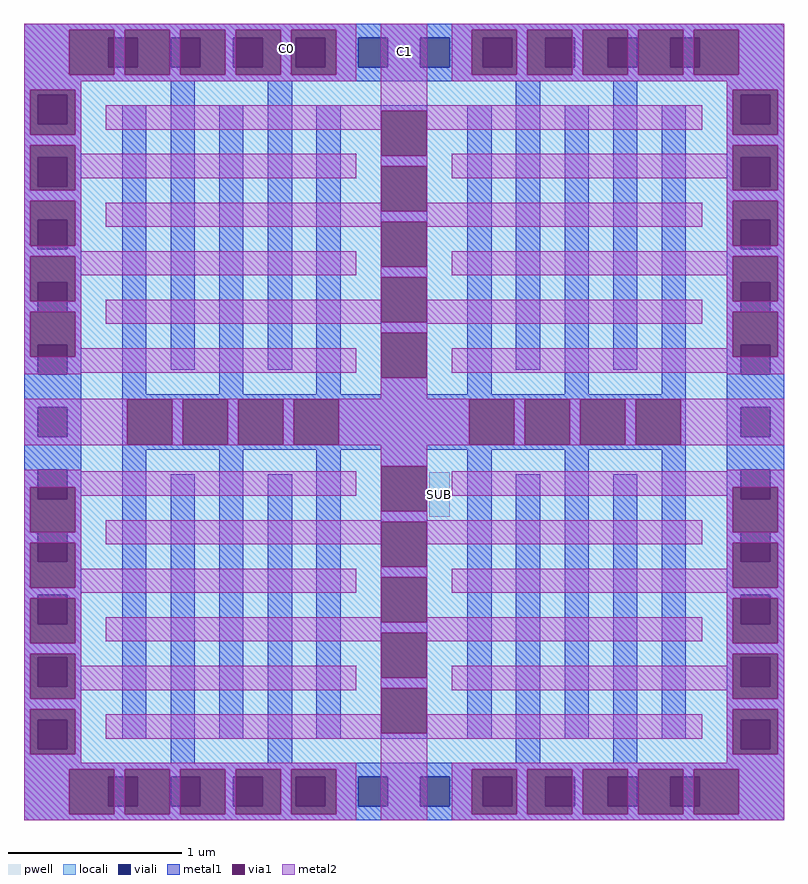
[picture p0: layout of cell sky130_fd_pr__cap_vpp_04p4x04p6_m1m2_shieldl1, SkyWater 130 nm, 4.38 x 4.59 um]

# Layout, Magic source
magic
tech sky130A
magscale 1 2
<< pwell >>
rect 467 350 491 401
<< locali >>
rect 0 902 876 918
rect 0 868 97 902
rect 131 868 169 902
rect 203 868 241 902
rect 275 868 313 902
rect 347 868 385 902
rect 419 868 457 902
rect 491 868 529 902
rect 563 868 601 902
rect 635 868 673 902
rect 707 868 745 902
rect 779 868 876 902
rect 0 836 876 868
rect 0 802 16 836
rect 50 802 826 836
rect 860 802 876 836
rect 0 764 876 802
rect 0 730 16 764
rect 50 730 826 764
rect 860 730 876 764
rect 0 692 876 730
rect 0 658 16 692
rect 50 658 826 692
rect 860 658 876 692
rect 0 620 876 658
rect 0 586 16 620
rect 50 586 826 620
rect 860 586 876 620
rect 0 548 876 586
rect 0 514 16 548
rect 50 514 826 548
rect 860 514 876 548
rect 0 476 876 514
rect 0 442 16 476
rect 50 442 826 476
rect 860 442 876 476
rect 0 404 876 442
rect 0 370 16 404
rect 50 370 826 404
rect 860 370 876 404
rect 0 332 876 370
rect 0 298 16 332
rect 50 298 826 332
rect 860 298 876 332
rect 0 260 876 298
rect 0 226 16 260
rect 50 226 826 260
rect 860 226 876 260
rect 0 188 876 226
rect 0 154 16 188
rect 50 154 826 188
rect 860 154 876 188
rect 0 116 876 154
rect 0 82 16 116
rect 50 82 826 116
rect 860 82 876 116
rect 0 50 876 82
rect 0 16 97 50
rect 131 16 169 50
rect 203 16 241 50
rect 275 16 313 50
rect 347 16 385 50
rect 419 16 457 50
rect 491 16 529 50
rect 563 16 601 50
rect 635 16 673 50
rect 707 16 745 50
rect 779 16 876 50
rect 0 0 876 16
<< viali >>
rect 97 868 131 902
rect 169 868 203 902
rect 241 868 275 902
rect 313 868 347 902
rect 385 868 419 902
rect 457 868 491 902
rect 529 868 563 902
rect 601 868 635 902
rect 673 868 707 902
rect 745 868 779 902
rect 16 802 50 836
rect 826 802 860 836
rect 16 730 50 764
rect 826 730 860 764
rect 16 658 50 692
rect 826 658 860 692
rect 16 586 50 620
rect 826 586 860 620
rect 16 514 50 548
rect 826 514 860 548
rect 16 442 50 476
rect 826 442 860 476
rect 16 370 50 404
rect 826 370 860 404
rect 16 298 50 332
rect 826 298 860 332
rect 16 226 50 260
rect 826 226 860 260
rect 16 154 50 188
rect 826 154 860 188
rect 16 82 50 116
rect 826 82 860 116
rect 97 16 131 50
rect 169 16 203 50
rect 241 16 275 50
rect 313 16 347 50
rect 385 16 419 50
rect 457 16 491 50
rect 529 16 563 50
rect 601 16 635 50
rect 673 16 707 50
rect 745 16 779 50
<< metal1 >>
rect 0 911 876 918
rect 0 859 52 911
rect 104 902 116 911
rect 168 902 180 911
rect 232 902 244 911
rect 168 868 169 902
rect 232 868 241 902
rect 104 859 116 868
rect 168 859 180 868
rect 232 859 244 868
rect 296 859 308 911
rect 360 902 516 911
rect 360 868 385 902
rect 419 868 457 902
rect 491 868 516 902
rect 360 859 516 868
rect 568 859 580 911
rect 632 902 644 911
rect 696 902 708 911
rect 760 902 772 911
rect 635 868 644 902
rect 707 868 708 902
rect 632 859 644 868
rect 696 859 708 868
rect 760 859 772 868
rect 824 859 876 911
rect 0 852 876 859
rect 0 842 66 852
rect 0 790 7 842
rect 59 790 66 842
rect 0 778 66 790
rect 0 726 7 778
rect 59 726 66 778
rect 0 714 66 726
rect 0 662 7 714
rect 59 662 66 714
rect 0 658 16 662
rect 50 658 66 662
rect 0 650 66 658
rect 0 598 7 650
rect 59 598 66 650
rect 0 586 16 598
rect 50 586 66 598
rect 0 534 7 586
rect 59 534 66 586
rect 0 514 16 534
rect 50 514 66 534
rect 0 476 66 514
rect 0 442 16 476
rect 50 442 66 476
rect 0 404 66 442
rect 0 384 16 404
rect 50 384 66 404
rect 0 332 7 384
rect 59 332 66 384
rect 0 320 16 332
rect 50 320 66 332
rect 0 268 7 320
rect 59 268 66 320
rect 0 260 66 268
rect 0 256 16 260
rect 50 256 66 260
rect 0 204 7 256
rect 59 204 66 256
rect 0 192 66 204
rect 0 140 7 192
rect 59 140 66 192
rect 0 128 66 140
rect 0 76 7 128
rect 59 76 66 128
rect 113 491 141 824
rect 169 519 197 852
rect 225 491 253 824
rect 281 519 309 852
rect 337 491 365 824
rect 411 818 465 824
rect 411 766 412 818
rect 464 766 465 818
rect 411 754 465 766
rect 411 702 412 754
rect 464 702 465 754
rect 411 690 465 702
rect 411 638 412 690
rect 464 638 465 690
rect 411 626 465 638
rect 411 574 412 626
rect 464 574 465 626
rect 411 562 465 574
rect 411 510 412 562
rect 464 510 465 562
rect 411 491 465 510
rect 511 491 539 824
rect 567 519 595 852
rect 623 491 651 824
rect 679 519 707 852
rect 810 842 876 852
rect 735 491 763 824
rect 113 485 763 491
rect 113 433 119 485
rect 171 433 183 485
rect 235 433 247 485
rect 299 433 311 485
rect 363 433 513 485
rect 565 433 577 485
rect 629 433 641 485
rect 693 433 705 485
rect 757 433 763 485
rect 113 427 763 433
rect 113 94 141 427
rect 0 66 66 76
rect 169 66 197 399
rect 225 94 253 427
rect 281 66 309 399
rect 337 94 365 427
rect 411 408 465 427
rect 411 356 412 408
rect 464 356 465 408
rect 411 344 465 356
rect 411 292 412 344
rect 464 292 465 344
rect 411 280 465 292
rect 411 228 412 280
rect 464 228 465 280
rect 411 216 465 228
rect 411 164 412 216
rect 464 164 465 216
rect 411 152 465 164
rect 411 100 412 152
rect 464 100 465 152
rect 411 94 465 100
rect 511 94 539 427
rect 567 66 595 399
rect 623 94 651 427
rect 679 66 707 399
rect 735 94 763 427
rect 810 790 817 842
rect 869 790 876 842
rect 810 778 876 790
rect 810 726 817 778
rect 869 726 876 778
rect 810 714 876 726
rect 810 662 817 714
rect 869 662 876 714
rect 810 658 826 662
rect 860 658 876 662
rect 810 650 876 658
rect 810 598 817 650
rect 869 598 876 650
rect 810 586 826 598
rect 860 586 876 598
rect 810 534 817 586
rect 869 534 876 586
rect 810 514 826 534
rect 860 514 876 534
rect 810 476 876 514
rect 810 442 826 476
rect 860 442 876 476
rect 810 404 876 442
rect 810 384 826 404
rect 860 384 876 404
rect 810 332 817 384
rect 869 332 876 384
rect 810 320 826 332
rect 860 320 876 332
rect 810 268 817 320
rect 869 268 876 320
rect 810 260 876 268
rect 810 256 826 260
rect 860 256 876 260
rect 810 204 817 256
rect 869 204 876 256
rect 810 192 876 204
rect 810 140 817 192
rect 869 140 876 192
rect 810 128 876 140
rect 810 76 817 128
rect 869 76 876 128
rect 810 66 876 76
rect 0 59 876 66
rect 0 7 52 59
rect 104 50 116 59
rect 168 50 180 59
rect 232 50 244 59
rect 168 16 169 50
rect 232 16 241 50
rect 104 7 116 16
rect 168 7 180 16
rect 232 7 244 16
rect 296 7 308 59
rect 360 50 516 59
rect 360 16 385 50
rect 419 16 457 50
rect 491 16 516 50
rect 360 7 516 16
rect 568 7 580 59
rect 632 50 644 59
rect 696 50 708 59
rect 760 50 772 59
rect 635 16 644 50
rect 707 16 708 50
rect 632 7 644 16
rect 696 7 708 16
rect 760 7 772 16
rect 824 7 876 59
rect 0 0 876 7
<< via1 >>
rect 52 902 104 911
rect 116 902 168 911
rect 180 902 232 911
rect 244 902 296 911
rect 52 868 97 902
rect 97 868 104 902
rect 116 868 131 902
rect 131 868 168 902
rect 180 868 203 902
rect 203 868 232 902
rect 244 868 275 902
rect 275 868 296 902
rect 52 859 104 868
rect 116 859 168 868
rect 180 859 232 868
rect 244 859 296 868
rect 308 902 360 911
rect 516 902 568 911
rect 308 868 313 902
rect 313 868 347 902
rect 347 868 360 902
rect 516 868 529 902
rect 529 868 563 902
rect 563 868 568 902
rect 308 859 360 868
rect 516 859 568 868
rect 580 902 632 911
rect 644 902 696 911
rect 708 902 760 911
rect 772 902 824 911
rect 580 868 601 902
rect 601 868 632 902
rect 644 868 673 902
rect 673 868 696 902
rect 708 868 745 902
rect 745 868 760 902
rect 772 868 779 902
rect 779 868 824 902
rect 580 859 632 868
rect 644 859 696 868
rect 708 859 760 868
rect 772 859 824 868
rect 7 836 59 842
rect 7 802 16 836
rect 16 802 50 836
rect 50 802 59 836
rect 7 790 59 802
rect 7 764 59 778
rect 7 730 16 764
rect 16 730 50 764
rect 50 730 59 764
rect 7 726 59 730
rect 7 692 59 714
rect 7 662 16 692
rect 16 662 50 692
rect 50 662 59 692
rect 7 620 59 650
rect 7 598 16 620
rect 16 598 50 620
rect 50 598 59 620
rect 7 548 59 586
rect 7 534 16 548
rect 16 534 50 548
rect 50 534 59 548
rect 7 370 16 384
rect 16 370 50 384
rect 50 370 59 384
rect 7 332 59 370
rect 7 298 16 320
rect 16 298 50 320
rect 50 298 59 320
rect 7 268 59 298
rect 7 226 16 256
rect 16 226 50 256
rect 50 226 59 256
rect 7 204 59 226
rect 7 188 59 192
rect 7 154 16 188
rect 16 154 50 188
rect 50 154 59 188
rect 7 140 59 154
rect 7 116 59 128
rect 7 82 16 116
rect 16 82 50 116
rect 50 82 59 116
rect 7 76 59 82
rect 412 766 464 818
rect 412 702 464 754
rect 412 638 464 690
rect 412 574 464 626
rect 412 510 464 562
rect 119 433 171 485
rect 183 433 235 485
rect 247 433 299 485
rect 311 433 363 485
rect 513 433 565 485
rect 577 433 629 485
rect 641 433 693 485
rect 705 433 757 485
rect 412 356 464 408
rect 412 292 464 344
rect 412 228 464 280
rect 412 164 464 216
rect 412 100 464 152
rect 817 836 869 842
rect 817 802 826 836
rect 826 802 860 836
rect 860 802 869 836
rect 817 790 869 802
rect 817 764 869 778
rect 817 730 826 764
rect 826 730 860 764
rect 860 730 869 764
rect 817 726 869 730
rect 817 692 869 714
rect 817 662 826 692
rect 826 662 860 692
rect 860 662 869 692
rect 817 620 869 650
rect 817 598 826 620
rect 826 598 860 620
rect 860 598 869 620
rect 817 548 869 586
rect 817 534 826 548
rect 826 534 860 548
rect 860 534 869 548
rect 817 370 826 384
rect 826 370 860 384
rect 860 370 869 384
rect 817 332 869 370
rect 817 298 826 320
rect 826 298 860 320
rect 860 298 869 320
rect 817 268 869 298
rect 817 226 826 256
rect 826 226 860 256
rect 860 226 869 256
rect 817 204 869 226
rect 817 188 869 192
rect 817 154 826 188
rect 826 154 860 188
rect 860 154 869 188
rect 817 140 869 154
rect 817 116 869 128
rect 817 82 826 116
rect 826 82 860 116
rect 860 82 869 116
rect 817 76 869 82
rect 52 50 104 59
rect 116 50 168 59
rect 180 50 232 59
rect 244 50 296 59
rect 52 16 97 50
rect 97 16 104 50
rect 116 16 131 50
rect 131 16 168 50
rect 180 16 203 50
rect 203 16 232 50
rect 244 16 275 50
rect 275 16 296 50
rect 52 7 104 16
rect 116 7 168 16
rect 180 7 232 16
rect 244 7 296 16
rect 308 50 360 59
rect 516 50 568 59
rect 308 16 313 50
rect 313 16 347 50
rect 347 16 360 50
rect 516 16 529 50
rect 529 16 563 50
rect 563 16 568 50
rect 308 7 360 16
rect 516 7 568 16
rect 580 50 632 59
rect 644 50 696 59
rect 708 50 760 59
rect 772 50 824 59
rect 580 16 601 50
rect 601 16 632 50
rect 644 16 673 50
rect 673 16 696 50
rect 708 16 745 50
rect 745 16 760 50
rect 772 16 779 50
rect 779 16 824 50
rect 580 7 632 16
rect 644 7 696 16
rect 708 7 760 16
rect 772 7 824 16
<< metal2 >>
rect 0 911 383 918
rect 0 859 52 911
rect 104 859 116 911
rect 168 859 180 911
rect 232 859 244 911
rect 296 859 308 911
rect 360 859 383 911
rect 0 852 383 859
rect 0 842 66 852
rect 0 790 7 842
rect 59 790 66 842
rect 411 824 465 918
rect 493 911 876 918
rect 493 859 516 911
rect 568 859 580 911
rect 632 859 644 911
rect 696 859 708 911
rect 760 859 772 911
rect 824 859 876 911
rect 493 852 876 859
rect 810 842 876 852
rect 94 818 782 824
rect 94 796 412 818
rect 0 778 66 790
rect 0 726 7 778
rect 59 768 66 778
rect 59 740 383 768
rect 411 766 412 796
rect 464 796 782 818
rect 464 766 465 796
rect 810 790 817 842
rect 869 790 876 842
rect 810 778 876 790
rect 810 768 817 778
rect 411 754 465 766
rect 59 726 66 740
rect 0 714 66 726
rect 0 662 7 714
rect 59 662 66 714
rect 411 712 412 754
rect 94 702 412 712
rect 464 712 465 754
rect 493 740 817 768
rect 810 726 817 740
rect 869 726 876 778
rect 810 714 876 726
rect 464 702 782 712
rect 94 690 782 702
rect 94 684 412 690
rect 0 656 66 662
rect 0 650 383 656
rect 0 598 7 650
rect 59 628 383 650
rect 411 638 412 684
rect 464 684 782 690
rect 464 638 465 684
rect 810 662 817 714
rect 869 662 876 714
rect 810 656 876 662
rect 59 598 66 628
rect 411 626 465 638
rect 493 650 876 656
rect 493 628 817 650
rect 411 600 412 626
rect 0 586 66 598
rect 0 534 7 586
rect 59 544 66 586
rect 94 574 412 600
rect 464 600 465 626
rect 464 574 782 600
rect 94 572 782 574
rect 810 598 817 628
rect 869 598 876 650
rect 810 586 876 598
rect 411 562 465 572
rect 59 534 383 544
rect 0 516 383 534
rect 0 514 66 516
rect 411 510 412 562
rect 464 510 465 562
rect 810 544 817 586
rect 493 534 817 544
rect 869 534 876 586
rect 493 516 876 534
rect 810 514 876 516
rect 411 486 465 510
rect 0 485 876 486
rect 0 433 119 485
rect 171 433 183 485
rect 235 433 247 485
rect 299 433 311 485
rect 363 433 513 485
rect 565 433 577 485
rect 629 433 641 485
rect 693 433 705 485
rect 757 433 876 485
rect 0 432 876 433
rect 411 408 465 432
rect 0 402 66 404
rect 0 384 383 402
rect 0 332 7 384
rect 59 374 383 384
rect 59 332 66 374
rect 411 356 412 408
rect 464 356 465 408
rect 810 402 876 404
rect 493 384 876 402
rect 493 374 817 384
rect 411 346 465 356
rect 0 320 66 332
rect 0 268 7 320
rect 59 290 66 320
rect 94 344 782 346
rect 94 318 412 344
rect 411 292 412 318
rect 464 318 782 344
rect 810 332 817 374
rect 869 332 876 384
rect 810 320 876 332
rect 464 292 465 318
rect 59 268 383 290
rect 0 262 383 268
rect 411 280 465 292
rect 810 290 817 320
rect 0 256 66 262
rect 0 204 7 256
rect 59 204 66 256
rect 411 234 412 280
rect 94 228 412 234
rect 464 234 465 280
rect 493 268 817 290
rect 869 268 876 320
rect 493 262 876 268
rect 810 256 876 262
rect 464 228 782 234
rect 94 216 782 228
rect 94 206 412 216
rect 0 192 66 204
rect 0 140 7 192
rect 59 178 66 192
rect 59 150 383 178
rect 411 164 412 206
rect 464 206 782 216
rect 464 164 465 206
rect 810 204 817 256
rect 869 204 876 256
rect 810 192 876 204
rect 810 178 817 192
rect 411 152 465 164
rect 59 140 66 150
rect 0 128 66 140
rect 0 76 7 128
rect 59 76 66 128
rect 411 122 412 152
rect 94 100 412 122
rect 464 122 465 152
rect 493 150 817 178
rect 810 140 817 150
rect 869 140 876 192
rect 810 128 876 140
rect 464 100 782 122
rect 94 94 782 100
rect 0 66 66 76
rect 0 59 383 66
rect 0 7 52 59
rect 104 7 116 59
rect 168 7 180 59
rect 232 7 244 59
rect 296 7 308 59
rect 360 7 383 59
rect 0 0 383 7
rect 411 0 465 94
rect 810 76 817 128
rect 869 76 876 128
rect 810 66 876 76
rect 493 59 876 66
rect 493 7 516 59
rect 568 7 580 59
rect 632 7 644 59
rect 696 7 708 59
rect 760 7 772 59
rect 824 7 876 59
rect 493 0 876 7
<< labels >>
flabel metal2 s 289 874 315 904 0 FreeSans 200 0 0 0 C0
port 1 nsew
flabel metal2 s 420 868 458 905 0 FreeSans 200 0 0 0 C1
port 2 nsew
flabel pwell s 467 350 491 401 0 FreeSans 200 0 0 0 SUB
port 3 nsew
<< properties >>
string GDS_FILE $PDKPATH/libs.ref/sky130_fd_pr/gds/sky130_fd_pr.gds
string GDS_END 84340
string GDS_START 74116
<< end >>
